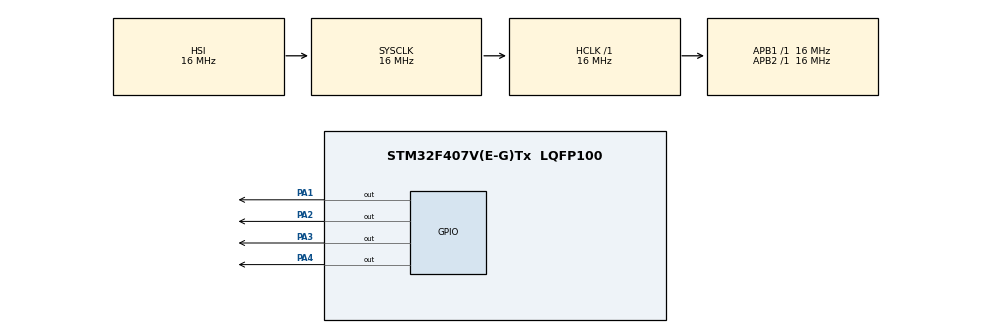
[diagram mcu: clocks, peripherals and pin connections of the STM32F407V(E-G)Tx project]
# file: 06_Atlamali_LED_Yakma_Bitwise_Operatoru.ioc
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Mcu.Family=STM32F4
Mcu.Name=STM32F407V(E-G)Tx
Mcu.Package=LQFP100
NVIC.PriorityGroup=NVIC_PRIORITYGROUP_4
PA1.Signal=GPIO_Output
PA2.Signal=GPIO_Output
PA3.Signal=GPIO_Output
PA4.Signal=GPIO_Output
ProjectManager.HeapSize=0x200
ProjectManager.StackSize=0x400
ProjectManager.TargetToolchain=STM32CubeIDE
RCC.AHBFreq_Value=16000000
RCC.APB1Freq_Value=16000000
RCC.APB2Freq_Value=16000000
RCC.CortexFreq_Value=16000000
RCC.HSE_VALUE=25000000
RCC.HSI_VALUE=16000000
RCC.LSE_VALUE=32768
RCC.SYSCLKFreq_VALUE=16000000
RCC.VCOOutputFreq_Value=192000000
board=custom

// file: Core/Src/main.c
/* USER CODE BEGIN Header */
/**
  ******************************************************************************
  * @file           : main.c
  * @brief          : Main program body
  ******************************************************************************
  * @attention
  *
  * Copyright (c) 2025 STMicroelectronics.
  * All rights reserved.
  *
  * This software is licensed under terms that can be found in the LICENSE file
  * in the root directory of this software component.
  * If no LICENSE file comes with this software, it is provided AS-IS.
  *
  ******************************************************************************
  */
/* USER CODE END Header */
#include "main.h"

void SystemClock_Config(void);
static void MX_GPIO_Init(void);

int main(void)
{

  /* MCU Configuration--------------------------------------------------------*/

  /* Reset of all peripherals, Initializes the Flash interface and the Systick. */
  HAL_Init();

  /* Configure the system clock */
  SystemClock_Config();

  /* Initialize all configured peripherals */
  MX_GPIO_Init();

  /* Infinite loop */
  while (1)
  {

    /* USER CODE BEGIN 3 */

	  HAL_GPIO_WritePin(GPIOA, GPIO_PIN_2, GPIO_PIN_SET);
      HAL_Delay(1000);
      HAL_GPIO_WritePin(GPIOA, GPIO_PIN_2, GPIO_PIN_RESET);		// Led2 yandı 1 sn yandıktan sonra söndü.

      HAL_GPIO_WritePin(GPIOA, GPIO_PIN_4, GPIO_PIN_SET);
      HAL_Delay(1000);
      HAL_GPIO_WritePin(GPIOA, GPIO_PIN_4, GPIO_PIN_RESET);		// Led4 yandı 1 sn yandıktan sonra söndü.

      HAL_GPIO_WritePin(GPIOA, GPIO_PIN_1, GPIO_PIN_SET);
      HAL_Delay(1000);
      HAL_GPIO_WritePin(GPIOA, GPIO_PIN_1, GPIO_PIN_RESET);		// Led1 yandı 1 sn yandıktan sonra söndü.

      HAL_GPIO_WritePin(GPIOA, GPIO_PIN_3, GPIO_PIN_SET);
      HAL_Delay(1000);
      HAL_GPIO_WritePin(GPIOA, GPIO_PIN_3, GPIO_PIN_RESET);		// Led3 yandı 1 sn yandıktan sonra söndü.

      HAL_GPIO_WritePin(GPIOA, GPIO_PIN_2 | GPIO_PIN_4, GPIO_PIN_SET);		// Aynı işlem yapılacağı durumda bitwise operatörü kullanılarak kod satırca kısaltılır.
      HAL_Delay(4000);
      HAL_GPIO_WritePin(GPIOA, GPIO_PIN_2 | GPIO_PIN_4, GPIO_PIN_RESET);	// Led2 ve led5 aynı anda yandı 2 sn yandıktan sonra söndü.

      HAL_GPIO_WritePin(GPIOA, GPIO_PIN_1 | GPIO_PIN_3, GPIO_PIN_SET);
      HAL_Delay(4000);
      HAL_GPIO_WritePin(GPIOA, GPIO_PIN_1 | GPIO_PIN_3, GPIO_PIN_RESET);	// Led1 ve led3 aynı anda yandı 2 sn yandıktan sonra söndü.

      HAL_GPIO_WritePin(GPIOA, GPIO_PIN_1 | GPIO_PIN_2 | GPIO_PIN_3 | GPIO_PIN_4, GPIO_PIN_SET);
      HAL_Delay(4000);

      HAL_GPIO_WritePin(GPIOA, GPIO_PIN_1 | GPIO_PIN_2 | GPIO_PIN_3 | GPIO_PIN_4, GPIO_PIN_RESET);	// Ledlerin hepsi aynı anda 4 sn yandı sonra söndü .
      HAL_Delay(4000);
  }
  /* USER CODE END 3 */
}

void SystemClock_Config(void)
{
  RCC_OscInitTypeDef RCC_OscInitStruct = {0};
  RCC_ClkInitTypeDef RCC_ClkInitStruct = {0};

  /** Configure the main internal regulator output voltage
  */
  __HAL_RCC_PWR_CLK_ENABLE();
  __HAL_PWR_VOLTAGESCALING_CONFIG(PWR_REGULATOR_VOLTAGE_SCALE1);

  /** Initializes the RCC Oscillators according to the specified parameters
  * in the RCC_OscInitTypeDef structure.
  */
  RCC_OscInitStruct.OscillatorType = RCC_OSCILLATORTYPE_HSI;
  RCC_OscInitStruct.HSIState = RCC_HSI_ON;
  RCC_OscInitStruct.HSICalibrationValue = RCC_HSICALIBRATION_DEFAULT;
  RCC_OscInitStruct.PLL.PLLState = RCC_PLL_NONE;
  if (HAL_RCC_OscConfig(&RCC_OscInitStruct) != HAL_OK)
  {
    Error_Handler();
  }

  /** Initializes the CPU, AHB and APB buses clocks
  */
  RCC_ClkInitStruct.ClockType = RCC_CLOCKTYPE_HCLK|RCC_CLOCKTYPE_SYSCLK
                              |RCC_CLOCKTYPE_PCLK1|RCC_CLOCKTYPE_PCLK2;
  RCC_ClkInitStruct.SYSCLKSource = RCC_SYSCLKSOURCE_HSI;
  RCC_ClkInitStruct.AHBCLKDivider = RCC_SYSCLK_DIV1;
  RCC_ClkInitStruct.APB1CLKDivider = RCC_HCLK_DIV1;
  RCC_ClkInitStruct.APB2CLKDivider = RCC_HCLK_DIV1;

  if (HAL_RCC_ClockConfig(&RCC_ClkInitStruct, FLASH_LATENCY_0) != HAL_OK)
  {
    Error_Handler();
  }
}

static void MX_GPIO_Init(void)
{
  GPIO_InitTypeDef GPIO_InitStruct = {0};

  /* GPIO Ports Clock Enable */
  __HAL_RCC_GPIOA_CLK_ENABLE();

  /*Configure GPIO pin Output Level */
  HAL_GPIO_WritePin(GPIOA, GPIO_PIN_1|GPIO_PIN_2|GPIO_PIN_3|GPIO_PIN_4, GPIO_PIN_RESET);

  /*Configure GPIO pins : PA1 PA2 PA3 PA4 */
  GPIO_InitStruct.Pin = GPIO_PIN_1|GPIO_PIN_2|GPIO_PIN_3|GPIO_PIN_4;
  GPIO_InitStruct.Mode = GPIO_MODE_OUTPUT_PP;
  GPIO_InitStruct.Pull = GPIO_NOPULL;
  GPIO_InitStruct.Speed = GPIO_SPEED_FREQ_LOW;
  HAL_GPIO_Init(GPIOA, &GPIO_InitStruct);

}

void Error_Handler(void)
{
  __disable_irq();
  while (1)
  {
  }
}
